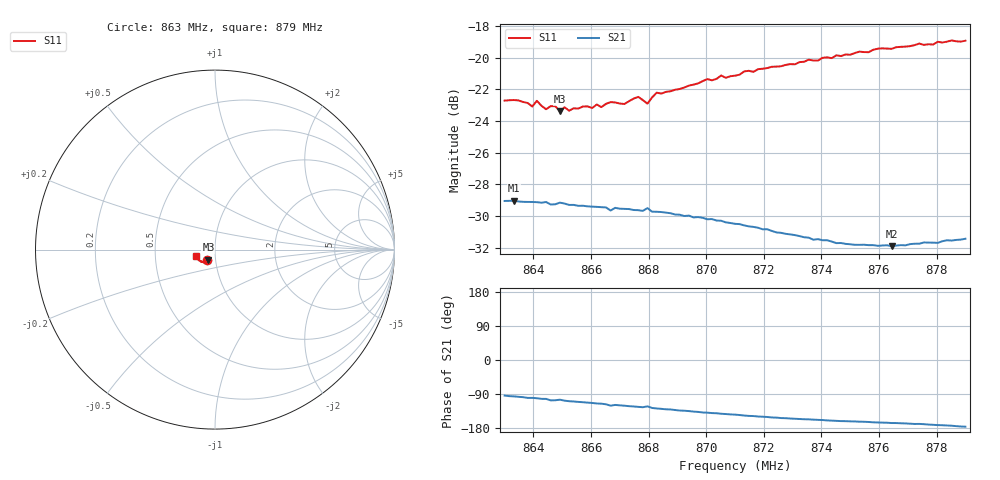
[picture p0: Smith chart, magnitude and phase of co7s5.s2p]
# HZ S RI R 50
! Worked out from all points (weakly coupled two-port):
!   101 points, 863 MHz to 879 MHz, reference 50 ohm
!   highest |S21| = -29.04 dB at 863.32 MHz (marker M1); lowest = -31.9 dB at 876.44 MHz (marker M2)
!   lowest |S11| = -23.4 dB at 864.92 MHz (marker M3), VSWR 1.15, Z = 46.2 - j5.29 ohm
!   |S11| at or under -10 dB: start of sweep to end of sweep
!   S12 and S22 are empty: the file has one direction only
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8.63e8  -0.0468 -0.0563  -0.00239 -0.0352  0 0  0 0
8.6332e8  -0.0456 -0.0577  -0.00365 -0.0351  0 0  0 0
8.6396e8  -0.0429 -0.0555  -0.00604 -0.0345  0 0  0 0
8.6412e8  -0.0453 -0.0574  -0.00663 -0.0343  0 0  0 0
8.6444e8  -0.0389 -0.0567  -0.00764 -0.0341  0 0  0 0
8.6476e8  -0.0421 -0.0564  -0.00961 -0.0331  0 0  0 0
8.6492e8  -0.0366 -0.057  -0.00886 -0.0337  0 0  0 0
8.6508e8  -0.0384 -0.0583  -0.0103 -0.033  0 0  0 0
8.6524e8  -0.0393 -0.0556  -0.011 -0.0324  0 0  0 0
8.6572e8  -0.0374 -0.0594  -0.0124 -0.0317  0 0  0 0
8.6636e8  -0.0377 -0.0588  -0.0144 -0.0305  0 0  0 0
8.6668e8  -0.0395 -0.0607  -0.0167 -0.0283  0 0  0 0
8.6716e8  -0.036 -0.0617  -0.017 -0.0286  0 0  0 0
8.6764e8  -0.0391 -0.0643  -0.0183 -0.0274  0 0  0 0
8.6796e8  -0.0314 -0.0644  -0.0179 -0.0283  0 0  0 0
8.6828e8  -0.04 -0.0665  -0.02 -0.0257  0 0  0 0
8.6844e8  -0.0403 -0.0657  -0.0204 -0.0253  0 0  0 0
8.7052e8  -0.0506 -0.0719  -0.024 -0.0188  0 0  0 0
8.71e8  -0.0524 -0.0705  -0.0242 -0.0175  0 0  0 0
8.7372e8  -0.0692 -0.0696  -0.0245 -0.0102  0 0  0 0
8.7644e8  -0.0899 -0.0577  -0.0246 -0.00599  0 0  0 0
8.79e8  -0.1071 -0.0371  -0.0267 -0.00188  0 0  0 0
